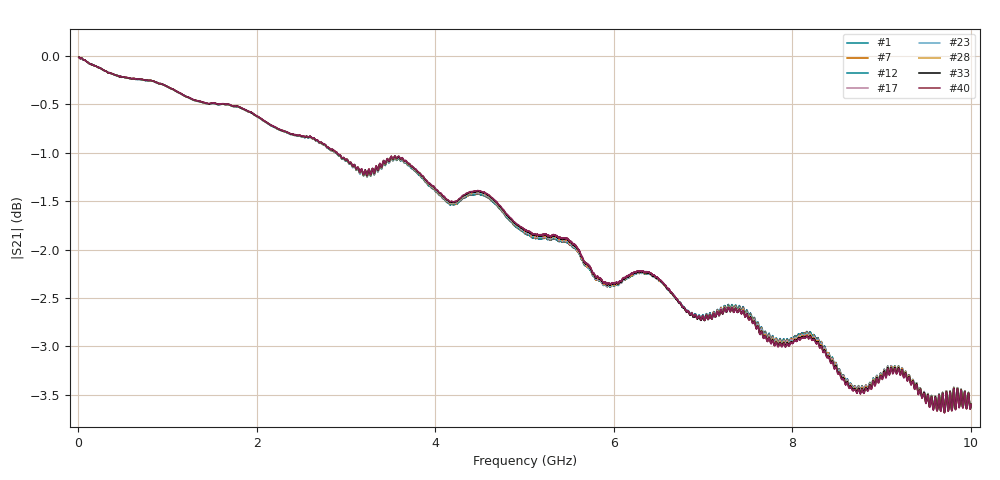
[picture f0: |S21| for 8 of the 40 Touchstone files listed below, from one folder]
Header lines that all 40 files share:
!Keysight Technologies,E5080B,MY59205177,A.15.75.32
!Correction: S11(Cdelta 2-Port  )
!S21(Cdelta 2-Port  )
!S12(Cdelta 2-Port  )
!S22(Cdelta 2-Port  )
!S2P File: Measurements: S11, S21, S12, S22:
# Hz S  dB  R 50
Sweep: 10 MHz to 10 GHz
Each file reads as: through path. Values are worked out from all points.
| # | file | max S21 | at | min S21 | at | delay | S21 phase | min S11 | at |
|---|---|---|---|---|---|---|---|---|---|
| 1 | 121.s2p | -0.01 dB | 14 MHz | -3.7 dB | 9.701 GHz | 565 ps | 80 deg at 5.005 GHz | -72.2 dB | 1.798 GHz |
| 2 | 122.s2p | -0.01 dB | 14 MHz | -3.7 dB | 9.701 GHz | 565 ps | 80 deg at 5.005 GHz | -72.3 dB | 1.798 GHz |
| 3 | 123.s2p | -0.01 dB | 14 MHz | -3.7 dB | 9.701 GHz | 565 ps | 80 deg at 5.005 GHz | -74.0 dB | 1.798 GHz |
| 4 | 124.s2p | -0.01 dB | 14 MHz | -3.7 dB | 9.701 GHz | 565 ps | 80 deg at 5.005 GHz | -72.2 dB | 1.798 GHz |
| 5 | 125.s2p | -0.02 dB | 14 MHz | -3.7 dB | 9.701 GHz | 565 ps | 80 deg at 5.005 GHz | -73.1 dB | 1.798 GHz |
| 6 | 126.s2p | -0.01 dB | 10 MHz | -3.7 dB | 9.701 GHz | 565 ps | 80 deg at 5.005 GHz | -72.4 dB | 1.798 GHz |
| 7 | 127.s2p | -0.01 dB | 14 MHz | -3.7 dB | 9.701 GHz | 565 ps | 80 deg at 5.005 GHz | -71.1 dB | 1.798 GHz |
| 8 | 128.s2p | -0.01 dB | 10 MHz | -3.7 dB | 9.701 GHz | 565 ps | 80 deg at 5.005 GHz | -72.2 dB | 1.798 GHz |
| 9 | 129.s2p | -0.01 dB | 14 MHz | -3.7 dB | 9.701 GHz | 565 ps | 80 deg at 5.005 GHz | -71.9 dB | 1.798 GHz |
| 10 | 130.s2p | -0.01 dB | 10 MHz | -3.7 dB | 9.701 GHz | 565 ps | 80 deg at 5.005 GHz | -73.3 dB | 1.798 GHz |
| 11 | 131.s2p | -0.01 dB | 14 MHz | -3.7 dB | 9.701 GHz | 565 ps | 80 deg at 5.005 GHz | -73.9 dB | 1.798 GHz |
| 12 | 132.s2p | -0.01 dB | 10 MHz | -3.7 dB | 9.701 GHz | 565 ps | 80 deg at 5.005 GHz | -74.5 dB | 1.798 GHz |
| 13 | 133.s2p | -0.01 dB | 14 MHz | -3.7 dB | 9.701 GHz | 565 ps | 80 deg at 5.005 GHz | -73.3 dB | 1.798 GHz |
| 14 | 134.s2p | -0.01 dB | 14 MHz | -3.7 dB | 9.701 GHz | 565 ps | 80 deg at 5.005 GHz | -73.1 dB | 1.798 GHz |
| 15 | 135.s2p | -0.01 dB | 10 MHz | -3.7 dB | 9.701 GHz | 565 ps | 80 deg at 5.005 GHz | -73.6 dB | 1.798 GHz |
| 16 | 136.s2p | -0.01 dB | 14 MHz | -3.7 dB | 9.701 GHz | 565 ps | 80 deg at 5.005 GHz | -73.7 dB | 1.798 GHz |
| 17 | 137.s2p | -0.01 dB | 10 MHz | -3.7 dB | 9.701 GHz | 565 ps | 80 deg at 5.005 GHz | -72.0 dB | 1.798 GHz |
| 18 | 138.s2p | -0.01 dB | 10 MHz | -3.7 dB | 9.701 GHz | 565 ps | 80 deg at 5.005 GHz | -71.2 dB | 1.798 GHz |
| 19 | 139.s2p | -0.01 dB | 14 MHz | -3.7 dB | 9.701 GHz | 565 ps | 80 deg at 5.005 GHz | -70.3 dB | 1.798 GHz |
| 20 | 140.s2p | -0.01 dB | 10 MHz | -3.7 dB | 9.701 GHz | 565 ps | 80 deg at 5.005 GHz | -71.3 dB | 1.798 GHz |
| 21 | 141.s2p | -0.01 dB | 14 MHz | -3.7 dB | 9.701 GHz | 565 ps | 80 deg at 5.005 GHz | -70.5 dB | 1.798 GHz |
| 22 | 142.s2p | -0.01 dB | 14 MHz | -3.7 dB | 9.701 GHz | 565 ps | 80 deg at 5.005 GHz | -70.6 dB | 1.798 GHz |
| 23 | 143.s2p | -0.01 dB | 14 MHz | -3.7 dB | 9.701 GHz | 565 ps | 80 deg at 5.005 GHz | -69.5 dB | 1.798 GHz |
| 24 | 144.s2p | -0.01 dB | 14 MHz | -3.7 dB | 9.701 GHz | 565 ps | 80 deg at 5.005 GHz | -69.6 dB | 1.798 GHz |
| 25 | 145.s2p | -0.01 dB | 10 MHz | -3.7 dB | 9.701 GHz | 565 ps | 80 deg at 5.005 GHz | -69.5 dB | 1.798 GHz |
| 26 | 146.s2p | -0.01 dB | 10 MHz | -3.7 dB | 9.701 GHz | 565 ps | 80 deg at 5.005 GHz | -68.4 dB | 1.798 GHz |
| 27 | 147.s2p | -0.01 dB | 14 MHz | -3.7 dB | 9.701 GHz | 565 ps | 80 deg at 5.005 GHz | -69.1 dB | 1.798 GHz |
| 28 | 148.s2p | -0.01 dB | 10 MHz | -3.7 dB | 9.701 GHz | 565 ps | 80 deg at 5.005 GHz | -68.0 dB | 1.798 GHz |
| 29 | 149.s2p | -0.01 dB | 14 MHz | -3.7 dB | 9.701 GHz | 565 ps | 80 deg at 5.005 GHz | -67.2 dB | 1.798 GHz |
| 30 | 150.s2p | -0.01 dB | 14 MHz | -3.7 dB | 9.701 GHz | 565 ps | 80 deg at 5.005 GHz | -67.9 dB | 1.798 GHz |
| 31 | 151.s2p | -0.01 dB | 14 MHz | -3.7 dB | 9.701 GHz | 565 ps | 80 deg at 5.005 GHz | -67.0 dB | 1.798 GHz |
| 32 | 152.s2p | -0.01 dB | 14 MHz | -3.7 dB | 9.701 GHz | 565 ps | 80 deg at 5.005 GHz | -67.7 dB | 1.798 GHz |
| 33 | 153.s2p | -0.02 dB | 10 MHz | -3.7 dB | 9.701 GHz | 565 ps | 80 deg at 5.005 GHz | -67.4 dB | 1.798 GHz |
| 34 | 154.s2p | -0.01 dB | 10 MHz | -3.7 dB | 9.701 GHz | 566 ps | 80 deg at 5.005 GHz | -67.2 dB | 1.797 GHz |
| 35 | 155.s2p | -0.01 dB | 14 MHz | -3.7 dB | 9.701 GHz | 566 ps | 80 deg at 5.005 GHz | -67.7 dB | 1.797 GHz |
| 36 | 156.s2p | -0.01 dB | 14 MHz | -3.7 dB | 9.701 GHz | 566 ps | 80 deg at 5.005 GHz | -67.8 dB | 1.797 GHz |
| 37 | 157.s2p | -0.01 dB | 14 MHz | -3.7 dB | 9.701 GHz | 566 ps | 80 deg at 5.005 GHz | -67.8 dB | 1.797 GHz |
| 38 | 158.s2p | -0.01 dB | 14 MHz | -3.7 dB | 9.701 GHz | 566 ps | 80 deg at 5.005 GHz | -67.4 dB | 1.797 GHz |
| 39 | 159.s2p | -0.01 dB | 10 MHz | -3.7 dB | 9.701 GHz | 566 ps | 80 deg at 5.005 GHz | -68.0 dB | 1.797 GHz |
| 40 | 160.s2p | -0.01 dB | 14 MHz | -3.7 dB | 9.701 GHz | 566 ps | 80 deg at 5.005 GHz | -67.1 dB | 1.797 GHz |
